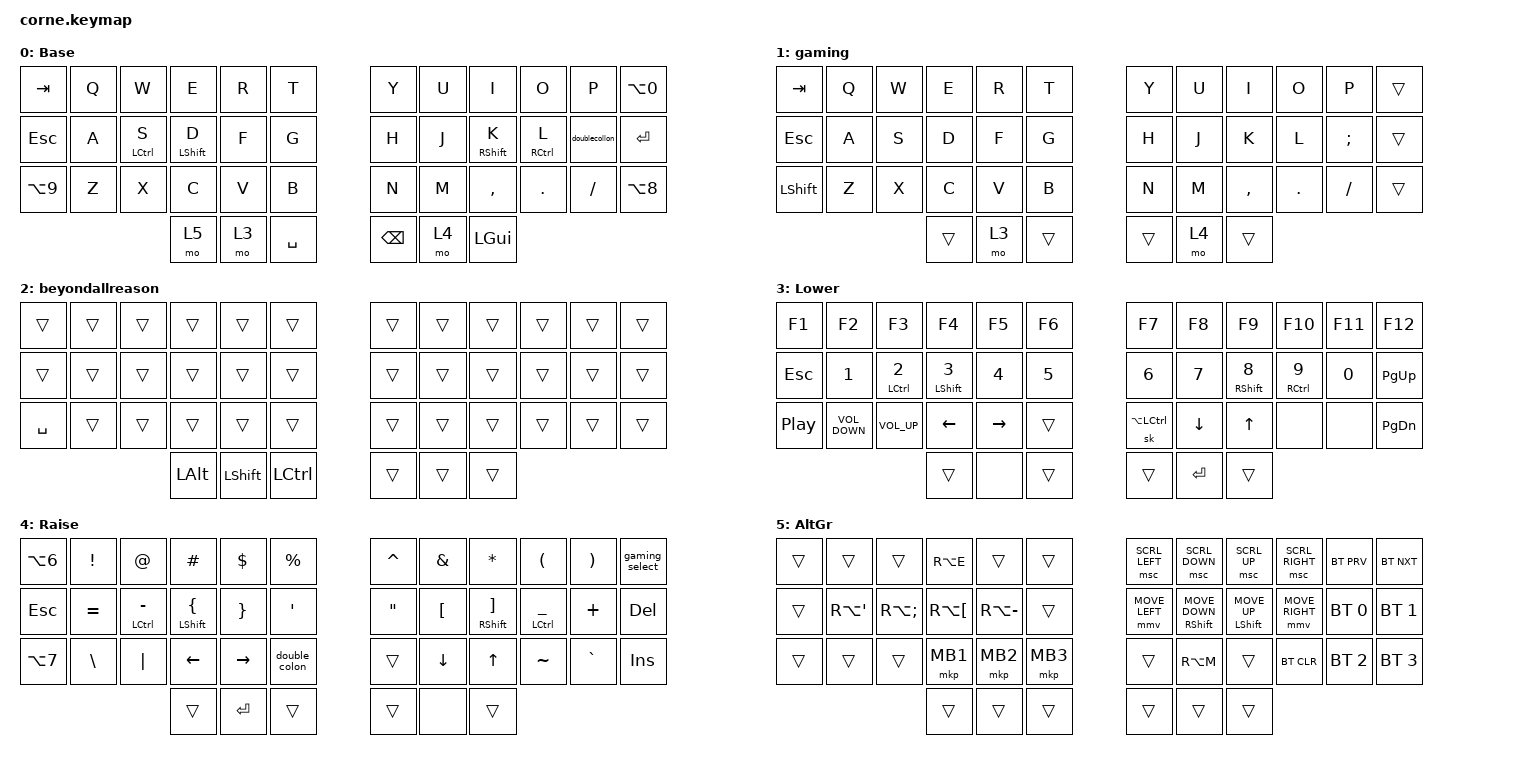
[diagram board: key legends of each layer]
/*
 * Copyright (c) 2020 The ZMK Contributors
 *
 * SPDX-License-Identifier: MIT
 */

#include <behaviors.dtsi>
#include <dt-bindings/zmk/bt.h>
#include <dt-bindings/zmk/keys.h>
#include <dt-bindings/zmk/pointing.h>

/ {
    combos {
        compatible = "zmk,combos";

        caps {
            bindings = <&caps_word>;
            key-positions = <17 18>;
        };

        enter {
            bindings = <&kp ENTER>;
            key-positions = <37 40>;
        };

        left_alt {
            bindings = <&kp LEFT_ALT>;
            key-positions = <37 38>;
        };

        lol_ctrl {
            bindings = <&kp LCTRL>;
            key-positions = <37 29>;
        };

        shiftctrl {
            bindings = <&kp LS(LCTRL)>;
            key-positions = <14 15>;
        };

        shiftctrl2 {
            bindings = <&kp LS(LCTRL)>;
            key-positions = <20 21>;
        };

        real_caps {
            bindings = <&kp CAPSLOCK>;
            key-positions = <5 6>;
        };
    };

    behaviors {
        hrl: home_row_left {
            compatible = "zmk,behavior-hold-tap";
            label = "HOME_ROW_LEFT";
            bindings = <&kp>, <&kp>;

            #binding-cells = <2>;
            tapping-term-ms = <60>;
            hold-trigger-key-positions = <6 7 8 9 10 11 18 19 20 21 22 23 30 31 32 33 34 35 39 40 41>;
            flavor = "tap-unless-interrupted";
            quick-tap-ms = <200>;
        };

        hrr: home_row_right {
            compatible = "zmk,behavior-hold-tap";
            label = "HOME_ROW_RIGHT";
            bindings = <&kp>, <&kp>;

            #binding-cells = <2>;
            tapping-term-ms = <60>;
            hold-trigger-key-positions = <0 1 2 3 4 5 12 13 14 15 16 17 24 25 26 27 28 29 36 37 38>;
            quick-tap-ms = <200>;
            flavor = "tap-unless-interrupted";
        };

        doublecollon: doublecollon {
            compatible = "zmk,behavior-mod-morph";
            label = "DOUBLECOLLON";
            bindings = <&kp SEMICOLON>, <&doublecollon>;

            #binding-cells = <0>;
            mods = <(MOD_LCTL)>;
        };

        hrr_m: hrr_m {
            compatible = "zmk,behavior-hold-tap";
            label = "HRR_M";
            bindings = <&kp>, <&mmv>;

            #binding-cells = <2>;
            tapping-term-ms = <60>;
            hold-trigger-key-positions = <0 1 2 3 4 5 12 13 14 15 16 17 24 25 26 27 28 29 36 37 38>;
            quick-tap-ms = <200>;
            flavor = "tap-unless-interrupted";
        };

        gaming_select: gaming_select {
            compatible = "zmk,behavior-mod-morph";
            label = "GAMING_SELECT";
            bindings = <&tog 1>, <&tog 2>;

            #binding-cells = <0>;
            mods = <(MOD_LSFT)>;
        };
    };

    macros {
        double_colon: double_colon {
            compatible = "zmk,behavior-macro";
            #binding-cells = <0>;
            bindings = <&kp COLON &kp COLON>;
            label = "DOUBLE_COLON";
        };
    };

    keymap {
        compatible = "zmk,keymap";

        default {
            // -----------------------------------------------------------------------------------------
            // |  TAB |  Q  |  W  |  E  |  R  |  T  |   |  Y  |  U   |  I  |  O  |  P  | BKSP |
            // | CTRL |  A  |  S  |  D  |  F  |  G  |   |  H  |  J   |  K  |  L  |  ;  |  '   |
            // | SHFT |  Z  |  X  |  C  |  V  |  B  |   |  N  |  M   |  ,  |  .  |  /  | ESC  |
            //                    | GUI | LWR | SPC |   | ENT | RSE  | ALT |

            display-name = "Base";
            bindings = <
&kp TAB     &kp Q  &kp W         &kp E              &kp R  &kp T        &kp Y          &kp U  &kp I               &kp O         &kp P          &kp LA(N0)
&kp ESCAPE  &kp A  &hrl LCTRL S  &hrl LEFT_SHIFT D  &kp F  &kp G        &kp H          &kp J  &hrr RIGHT_SHIFT K  &hrr RCTRL L  &doublecollon  &kp ENTER
&kp LA(N9)  &kp Z  &kp X         &kp C              &kp V  &kp B        &kp N          &kp M  &kp COMMA           &kp DOT       &kp FSLH       &kp LA(N8)
                                 &mo 5              &mo 3  &kp SPACE    &kp BACKSPACE  &mo 4  &kp LGUI
            >;
        };

        gaming {
            bindings = <
&kp TAB    &kp Q  &kp W  &kp E   &kp R  &kp T     &kp Y   &kp U  &kp I      &kp O    &kp P     &trans
&kp ESC    &kp A  &kp S  &kp D   &kp F  &kp G     &kp H   &kp J  &kp K      &kp L    &kp SEMI  &trans
&kp LSHFT  &kp Z  &kp X  &kp C   &kp V  &kp B     &kp N   &kp M  &kp COMMA  &kp DOT  &kp FSLH  &trans
                         &trans  &mo 3  &trans    &trans  &mo 4  &trans
            >;
        };

        beyondallreason {
            bindings = <
&trans     &trans  &trans  &trans        &trans          &trans       &trans  &trans  &trans  &trans  &trans  &trans
&trans     &trans  &trans  &trans        &trans          &trans       &trans  &trans  &trans  &trans  &trans  &trans
&kp SPACE  &trans  &trans  &trans        &trans          &trans       &trans  &trans  &trans  &trans  &trans  &trans
                           &kp LEFT_ALT  &kp LEFT_SHIFT  &kp LCTRL    &trans  &trans  &trans
            >;
        };

        left {
            // -----------------------------------------------------------------------------------------
            // |  TAB |  1  |  2  |  3  |  4  |  5  |   |  6  |  7  |  8  |  9  |  0  | BKSP |
            // | BTCLR| BT1 | BT2 | BT3 | BT4 | BT5 |   | LFT | DWN |  UP | RGT |     |      |
            // | SHFT |     |     |     |     |     |   |     |     |     |     |     |      |
            //                    | GUI |     | SPC |   | ENT |     | ALT |

            display-name = "Lower";
            bindings = <
&kp F1    &kp F2             &kp F3               &kp F4              &kp F5     &kp F6    &kp F7         &kp F8     &kp F9               &kp F10        &kp F11  &kp F12
&kp ESC   &kp N1             &hrl LCTRL NUMBER_2  &hrl LEFT_SHIFT N3  &kp N4     &kp N5    &kp N6         &kp N7     &hrr RIGHT_SHIFT N8  &hrr RCTRL N9  &kp N0   &kp PAGE_UP
&kp C_PP  &kp C_VOLUME_DOWN  &kp C_VOLUME_UP      &kp LEFT            &kp RIGHT  &trans    &sk LA(LCTRL)  &kp DOWN   &kp UP               &none          &none    &kp PAGE_DOWN
                                                  &trans              &none      &trans    &trans         &kp ENTER  &trans
            >;
        };

        right {
            // -----------------------------------------------------------------------------------------
            // |  TAB |  !  |  @  |  #  |  $  |  %  |   |  ^  |  &  |  *  |  (  |  )  | BKSP |
            // | CTRL |     |     |     |     |     |   |  -  |  =  |  [  |  ]  |  \  |  `   |
            // | SHFT |     |     |     |     |     |   |  _  |  +  |  {  |  }  | "|" |  ~   |
            //                    | GUI |     | SPC |   | ENT |     | ALT |

            display-name = "Raise";
            bindings = <
&kp LA(N6)  &kp EXCL       &kp AT            &kp HASH                &kp DLLR         &kp PRCNT           &kp CARET          &kp AMPS          &kp STAR                        &kp LPAR               &kp RPAR   &gaming_select
&kp ESC     &kp EQUAL      &hrl LCTRL MINUS  &hrl LSHIFT LEFT_BRACE  &kp RIGHT_BRACE  &kp SINGLE_QUOTE    &kp DOUBLE_QUOTES  &kp LEFT_BRACKET  &hrr RIGHT_SHIFT RIGHT_BRACKET  &hrr LCTRL UNDERSCORE  &kp PLUS   &kp DEL
&kp LA(N7)  &kp BACKSLASH  &kp PIPE          &kp LEFT                &kp RIGHT        &double_colon       &trans             &kp DOWN          &kp UP                          &kp TILDE              &kp GRAVE  &kp INSERT
                                             &trans                  &kp ENTER        &trans              &trans             &none             &trans
            >;
        };

        AltGr {
            bindings = <
&trans  &trans              &trans             &kp RA(E)             &trans         &trans      &msc SCRL_LEFT  &msc SCRL_DOWN                &msc SCRL_UP               &msc SCRL_RIGHT  &bt BT_PRV    &bt BT_NXT
&trans  &kp RA(APOSTROPHE)  &kp RA(SEMICOLON)  &kp RA(LEFT_BRACKET)  &kp RA(MINUS)  &trans      &mmv MOVE_LEFT  &hrr_m RIGHT_SHIFT MOVE_DOWN  &hrr_m LEFT_SHIFT MOVE_UP  &mmv MOVE_RIGHT  &bt BT_SEL 0  &bt BT_SEL 1
&trans  &trans              &trans             &mkp MB1              &mkp MB2       &mkp MB3    &trans          &kp RA(M)                     &trans                     &bt BT_CLR       &bt BT_SEL 2  &bt BT_SEL 3
                                               &trans                &trans         &trans      &trans          &trans                        &trans
            >;
        };
    };
};
